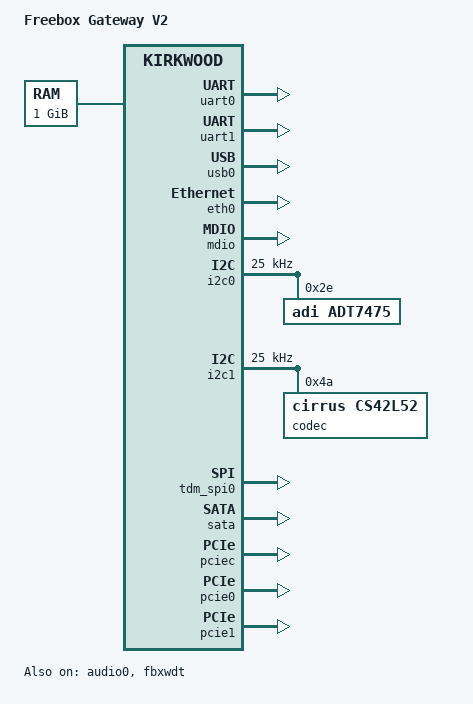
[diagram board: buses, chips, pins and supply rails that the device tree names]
/dts-v1/;

#include "kirkwood.dtsi"
#include "kirkwood-6282.dtsi"

/ {
	model = "Freebox Gateway V2";
	compatible = "freebox,fbxgw2r";

	chosen {
		stdout-path = &uart1;
	};

	memory {
		device_type = "memory";
		reg = <0x00000000 0x40000000>; /* 1024 MB */
	};

	ocp@f1000000 {
		fbxwdt: fbxwatchdog-timer@20300 {
			compatible = "marvell,orion-fbxwdt";
			reg = <0x20300 0x28>, <0x20108 0x4>;
			clocks = <&gate_clk 7>;
			fbx,legacy-device-name = "orion_fbxwdt";
			status = "okay";
		};
	};

	aliases {
		spi0 = &tdm_spi0;
	};
};

&uart0 {
	status = "okay";
};
&uart1 {
	status = "okay";
};

&pmx_uart1 {
	marvell,pins = "mpp15", "mpp16";
	marvell,function = "uart1";
};

&nand {
	status = "foutu";
};
&usb0 {
	status = "okay";
	fbx,legacy-device-name = "orion-ehci.0";
};

&eth0 {
	status = "okay";
	fbx,ff-model = <2>;
};

&eth0port {
	fbxserial-mac-address = <0>;
	speed = <1000>;
	duplex = <1>;
};

&mdio {
	status = "okay";
};

&i2c0 {
	status = "okay";
	clock-frequency = <25000>;
	fbx,legacy-device-name = "mv64xxx_i2c.0";

	adt7475@2e {
		compatible = "adi,adt7475";
		reg = <0x2e>;
	};
};

&i2c1 {
	status = "okay";
	clock-frequency = <25000>;
	fbx,legacy-device-name = "mv64xxx_i2c.1";

	codec@4a {
		compatible = "cirrus,cs42l52";
		// cirrus,reset-gpio = <0>;
		reg = <0x4a>;
	};
};

&audio0 {
	status = "okay";
};

&gpio1 {
       marvell,broken-mpp33-dir = <1>;
};

&tdm_spi0 {
	fbx,cs-gpios = <(-1) 34>;
	status = "okay";
};

&sata {
	status = "okay";
	nr-ports = <2>;
	fbx,legacy-device-name = "sata_mv.0";
};

&pciec {
	status = "okay";
};
&pcie0 {
	status = "okay";
};
&pcie1 {
	status = "okay";
};
